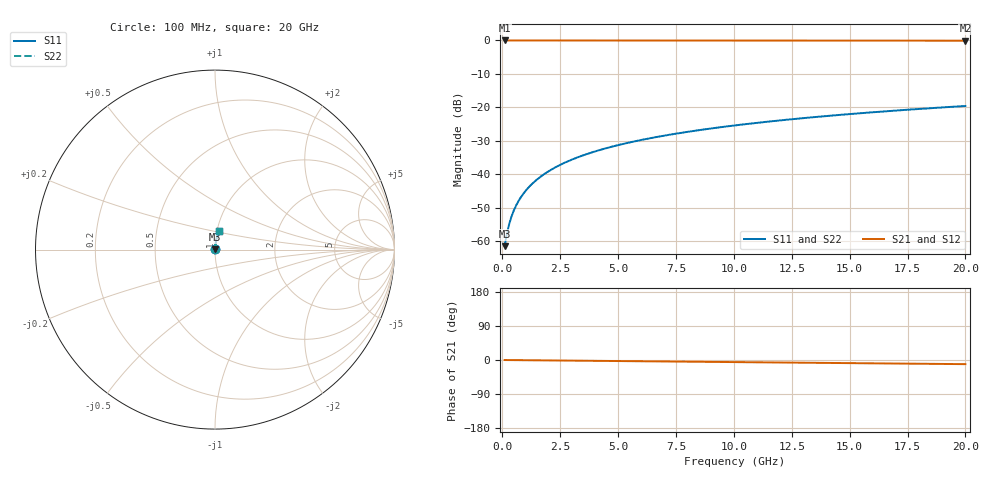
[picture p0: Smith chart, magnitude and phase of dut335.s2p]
! Touchstone file exported from HFSS 2026.1.0
!  File:  C:/ffzhzh/LocalFiles/Ansys_Project_Files/temp_train_TSV_335_1783018710_4048.aedt
!  Generated:  03:01:17 AM Jul  3, 2026
!  Design:  TSV
!  Project:  temp_train_TSV_335_1783018710_4048
! Variables:
!  h_bsmrdl = 2um
!  h_ox = 20um
!  h_rdl = 5um
!  h_sub = 90.34um
!  h_tmrdl = 5um
!  h_tsv = 90.34um
!  h_via = 3um
!  l_bsmrdl = 300um
!  l_sub = 408.34um
!  l_tmrdl = 200um
!  m_sub = 200um
!  pitch = 45.52um
!  r_tsv = 4.17um
!  s_tmrdl = 10um
!  w_bsmrdl = 18um
!  w_sub = 500um
!  w_tmrdl = 12um
!  x_tsv_center1 = 206um
!  x_tsv_center2 = 524um
!  x_tsv_center3 = 736um
!  x_tsv_center4 = 1054um
!  x_tsv_center5 = 1266um
!  x_tsv_center6 = 1584um
# GHz S MA R 50.000000
! Terminal data exported
! Port[1] = TSV1_1_T1
! Port[2] = TSV1_1_T2
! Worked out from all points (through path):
!   200 points, 100 MHz to 20 GHz, reference 50 ohm
!   highest |S21| = -0.01 dB at 100 MHz (marker M1); lowest = -0.1 dB at 20 GHz (marker M2)
!   group delay of S21, straight-line fit = 1.52 ps
!   lowest |S11| = -61.5 dB at 100 MHz (marker M3), VSWR 1.00, Z = 50.1 + j0.0571 ohm
!   |S11| at or under -10 dB: start of sweep to end of sweep
!   |S22| runs from -61.5 to -19.6 dB; largest |S21 - S12| = 6.1e-15
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0.1  0.0008434 42.6  0.9994 -0.1  0.9994 -0.1  0.0008434 42.6
! Gamma 0 0 0 0
! Port Impedance 50 0 50 0
0.2  0.001302 60.9  0.9994 -0.1  0.9994 -0.1  0.001302 60.9
0.3  0.001819 69.1  0.9994 -0.2  0.9994 -0.2  0.001819 69.1
0.4  0.002354 73.6  0.9993 -0.2  0.9993 -0.2  0.002354 73.6
0.5  0.002895 76.4  0.9993 -0.3  0.9993 -0.3  0.002895 76.4
0.6  0.003438 78.2  0.9993 -0.3  0.9993 -0.3  0.003438 78.2
0.8  0.00453 80.6  0.9993 -0.5  0.9993 -0.5  0.00453 80.6
1.1  0.006173 82.5  0.9992 -0.6  0.9992 -0.6  0.006173 82.5
1.5  0.008366 83.8  0.9992 -0.8  0.9992 -0.8  0.008366 83.8
1.8  0.01001 84.3  0.9991 -1.0  0.9991 -1.0  0.01001 84.3
2.1  0.01165 84.6  0.9991 -1.2  0.9991 -1.2  0.01165 84.6
2.7  0.01492 84.8  0.9989 -1.5  0.9989 -1.5  0.01492 84.8
3.5  0.01925 84.8  0.9987 -2.0  0.9987 -2.0  0.01925 84.8
4.2  0.02301 84.6  0.9985 -2.4  0.9985 -2.4  0.02301 84.6
5  0.02728 84.4  0.9983 -2.8  0.9983 -2.8  0.02728 84.4
5.9  0.03204 84.1  0.998 -3.3  0.998 -3.3  0.03204 84.1
6.8  0.03679 83.7  0.9977 -3.8  0.9977 -3.8  0.03679 83.7
8.3  0.04465 83.1  0.9972 -4.6  0.9972 -4.6  0.04465 83.1
10.1  0.05404 82.3  0.9965 -5.6  0.9965 -5.6  0.05404 82.3
13.4  0.07114 80.8  0.9952 -7.4  0.9952 -7.4  0.07114 80.8
16.7  0.08809 79.2  0.9936 -9.2  0.9936 -9.2  0.08809 79.2
20  0.1048 77.5  0.9917 -11.0  0.9917 -11.0  0.1048 77.5
